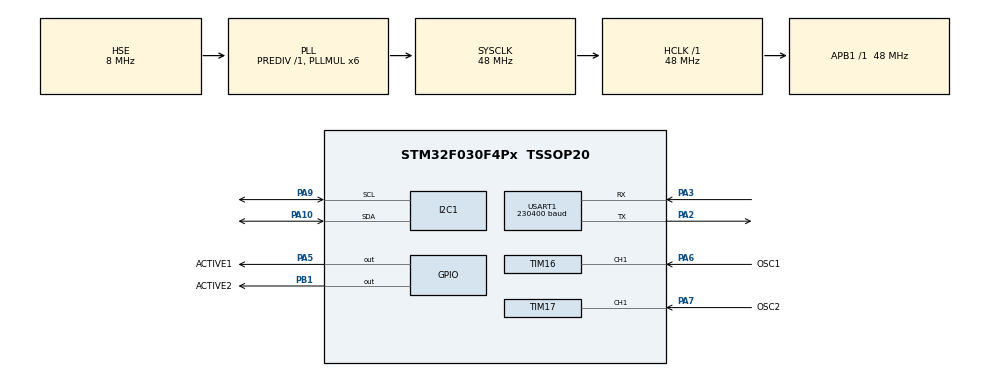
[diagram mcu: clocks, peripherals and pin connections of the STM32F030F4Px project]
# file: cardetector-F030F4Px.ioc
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I2C1.Timing=0x20303E5D
Mcu.Family=STM32F0
Mcu.Name=STM32F030F4Px
Mcu.Package=TSSOP20
Mcu.UserConstants=T14_RELOAD,500
NVIC.I2C1_IRQn=true\:0\:0\:false\:false\:true\:true\:true
NVIC.TIM16_IRQn=true\:0\:0\:false\:false\:true\:true\:true
NVIC.TIM17_IRQn=true\:0\:0\:false\:false\:true\:true\:true
NVIC.USART1_IRQn=true\:0\:0\:false\:false\:true\:true\:true
PA10.GPIO_PuPdOD=GPIO_NOPULL
PA10.Mode=I2C
PA10.Signal=I2C1_SDA
PA13.Mode=Serial_Wire
PA13.Signal=SYS_SWDIO
PA14.Mode=Serial_Wire
PA14.Signal=SYS_SWCLK
PA2.Mode=Asynchronous
PA2.Signal=USART1_TX
PA3.Mode=Asynchronous
PA3.Signal=USART1_RX
PA5.GPIO_Label=ACTIVE1
PA5.Signal=GPIO_Output
PA6.GPIO_Label=OSC1
PA6.Signal=S_TIM16_CH1
PA7.GPIO_Label=OSC2
PA7.Signal=S_TIM17_CH1
PA9.GPIO_PuPdOD=GPIO_NOPULL
PA9.Mode=I2C
PA9.Signal=I2C1_SCL
PB1.GPIO_Label=ACTIVE2
PB1.Signal=GPIO_Output
PF0-OSC_IN.Mode=HSE-External-Oscillator
PF0-OSC_IN.Signal=RCC_OSC_IN
PF1-OSC_OUT.Mode=HSE-External-Oscillator
PF1-OSC_OUT.Signal=RCC_OSC_OUT
ProjectManager.HeapSize=0x200
ProjectManager.StackSize=0x400
ProjectManager.TargetToolchain=SW4STM32
RCC.AHBFreq_Value=48000000
RCC.APB1Freq_Value=48000000
RCC.APB1TimFreq_Value=48000000
RCC.HCLKFreq_Value=48000000
RCC.I2c1ClockSelection=RCC_I2C1CLKSOURCE_SYSCLK
RCC.PLLMUL=RCC_PLL_MUL6
RCC.PLLSourceVirtual=RCC_PLLSOURCE_HSE
RCC.SYSCLKFreq_VALUE=48000000
RCC.SYSCLKSource=RCC_SYSCLKSOURCE_PLLCLK
SH.S_TIM16_CH1.0=TIM16_CH1,Input_Capture1_from_TI1
SH.S_TIM17_CH1.0=TIM17_CH1,Input_Capture1_from_TI1
TIM16.Channel=TIM_CHANNEL_1
TIM16.ICFilter_CH1=1
TIM16.ICPolarity_CH1=TIM_INPUTCHANNELPOLARITY_RISING
TIM16.ICPrescaler=TIM_ICPSC_DIV8
TIM16.Period=65535
TIM17.Channel=TIM_CHANNEL_1
TIM17.ICFilter_CH1=1
TIM17.ICPolarity_CH1=TIM_INPUTCHANNELPOLARITY_RISING
TIM17.ICPrescaler=TIM_ICPSC_DIV8
TIM17.Period=65535
USART1.BaudRate=230400
USART1.VirtualMode-Asynchronous=VM_ASYNC
VP_IWDG_VS_IWDG.Mode=IWDG_Activate
VP_TIM16_VS_ClockSourceINT.Mode=Enable_Timer
VP_TIM17_VS_ClockSourceINT.Mode=Enable_Timer
board=cardetector-F030F4Px

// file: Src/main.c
/* USER CODE BEGIN Header */
/**
  ******************************************************************************
  * @file           : main.c
  * @brief          : Main program body
  ******************************************************************************
  * @attention
  *
  * <h2><center>&copy; Copyright (c) 2019 STMicroelectronics.
  * All rights reserved.</center></h2>
  *
  * This software component is licensed by ST under BSD 3-Clause license,
  * the "License"; You may not use this file except in compliance with the
  * License. You may obtain a copy of the License at:
  *                        opensource.org/licenses/BSD-3-Clause
  *
  ******************************************************************************
  */
/* USER CODE END Header */

#include "main.h"
#include "i2c.h"
#include "iwdg.h"
#include "tim.h"
#include "usart.h"
#include "gpio.h"

/* USER CODE BEGIN Includes */
#include <config.h>
#include <globals.h>
#include <cardetector_common/detector.h>
#include <cardetector_common/display.h>
#include <stm32plus/usart.h>
#include <stm32plus/strutil.h>

#include <cardetector_common/liveconfig.h>
#include <cardetector_common/userinput.h>

/* USER CODE END Includes */

/* USER CODE BEGIN PV */
/* Private variables ---------------------------------------------------------*/

const char g_stateSyms[] = "-|+#*";

const LIVECONFIG g_config_default =
{
	  0xA5
	, {SHIFT_BELOW, SHIFT_BASE, SHIFT_ABOVE, SHIFT_ACTIVE, SHIFT_TIMEOUT}	//below, above, active, timeout
	, SHIFT_SUM		//shift
	, TIMELIMIT		//tlimit
	, DIVIDER		//divider
	, MCCOUNT		//mccntexp
	, 0
#if defined(USE_LEDBAR)
	, {
		{ 1, 2, 6, 0xe, 0x1e, 0x3e, 0x7e, 0xfe },
		{ 1, 2, 6, 0xe, 0x1e, 0x3e, 0x7e, 0xfe }
	  }
#endif
};

LIVECONFIG 	g_config;

// globals.h start /////////////////////////////////////////////////////////////
#ifdef USE_I2C
I2cMaster_State		*g_i2c;
#endif

#ifdef USE_EEPROM
I2cEEPROM_State		g_eeprom;
#endif

#ifdef USE_SERIAL
uint8_t				g_lineBuffer[64];
volatile uint8_t	g_lineReceived = 0;
#endif

/* USER CODE END PV */

void SystemClock_Config(void);
/* USER CODE BEGIN PFP */
/* Private function prototypes -----------------------------------------------*/
void DisplayResults(uint8_t line);

/* USER CODE END PFP */

/* USER CODE BEGIN 0 */
#ifdef GENERATE_SWEEP
#define PWM_DELAY	2
#define PWM_STEP	1

//////////////////////////////////////////////////////////////////////////////
void HAL_SYSTICK_Callback(void)
{
	static uint16_t	counter = PWM_DELAY;
	static uint8_t	up = 1;
	static uint16_t	pwm = 0;

	//return;

	if(! --counter)
	{
		counter = PWM_DELAY;

		if(up) {
			if(pwm < htim14.Init.Period) {
				pwm += PWM_STEP;
			} else {
				pwm = htim14.Init.Period;
				up = 0;
			}
		} else {
			if(pwm > PWM_STEP) {
				pwm -= PWM_STEP;
			} else {
				pwm = 0;
				up = 1;
			}
		}
		__HAL_TIM_SetCompare(&htim14, TIM_CHANNEL_1, pwm);
	}
}
#endif	//	GENERATE_SWEEP

/* USER CODE END 0 */

int main(void)
{

  /* MCU Configuration--------------------------------------------------------*/

  /* Reset of all peripherals, Initializes the Flash interface and the Systick. */
  HAL_Init();

  /* Configure the system clock */
  SystemClock_Config();

  /* Initialize all configured peripherals */
  MX_GPIO_Init();
  MX_I2C1_Init();
  MX_TIM16_Init();
  MX_TIM17_Init();
  MX_USART1_UART_Init();
  /* USER CODE BEGIN 2 */
  g_config = g_config_default;

#ifdef USE_I2C
  g_i2c = I2cMaster_Init(&hi2c1);
  InitializeDisplay(g_i2c);
#endif

  MX_IWDG_Init();
  HAL_IWDG_Refresh(&hiwdg);

#ifdef USE_EEPROM
  I2cEEPROM_Init(&g_eeprom, g_i2c, EEPROMADDR, 1, 8);
  {
	LIVECONFIG	config;

	if(I2cEEPROM_Read(&g_eeprom, EESTART, &config, sizeof(config)) == HAL_OK) {
		I2cMaster_WaitCallback(g_i2c);
		if(config.magic == 0xA5)
			g_config = config;
	}
  }
#endif

#ifdef USE_SERIAL
  UsartInit(&huart1);
#endif	//	USE_SERIAL

#ifdef GENERATE_SWEEP
  HAL_TIM_Base_Start_IT(&htim14);
  HAL_TIM_PWM_Start(&htim14, TIM_CHANNEL_1);
  __HAL_TIM_SetCompare(&htim14, TIM_CHANNEL_1, 256);
#endif	//	GENERATE_SWEEP

  HAL_TIM_IC_Start_IT(&htim16, TIM_CHANNEL_1);
  HAL_TIM_IC_Start_IT(&htim17, TIM_CHANNEL_1);

#ifdef USE_SERIAL
  HAL_UART_Receive_IT(&huart1, g_lineBuffer, sizeof(g_lineBuffer));
#endif
  /* USER CODE END 2 */

  /* Infinite loop */
  while (1)
  {

    /* USER CODE BEGIN 3 */
#ifdef USE_SERIAL
	if(g_lineReceived)
	{
	  UsartSendStr((char*)g_lineBuffer, 1);
	  UsartSendStr("\r\n", 1);

	  ProcessInput(&g_config, (char*)g_lineBuffer);
	  //DisplayInput(&i2clcd);
	  g_lineReceived = 0;
	  HAL_UART_Receive_IT(&huart1, g_lineBuffer, sizeof(g_lineBuffer));
	}
#endif
	  if(g_statuses[0].trigger) {
		  DisplayResults(0);
		  g_statuses[0].trigger = 0;
	  }
	  if(g_statuses[1].trigger) {
		  DisplayResults(1);
		  g_statuses[1].trigger = 0;
	  }

	  HAL_IWDG_Refresh(&hiwdg);
  }
  /* USER CODE END 3 */
}

void SystemClock_Config(void)
{
  RCC_OscInitTypeDef RCC_OscInitStruct = {0};
  RCC_ClkInitTypeDef RCC_ClkInitStruct = {0};
  RCC_PeriphCLKInitTypeDef PeriphClkInit = {0};

  /** Initializes the CPU, AHB and APB busses clocks
  */
  RCC_OscInitStruct.OscillatorType = RCC_OSCILLATORTYPE_LSI|RCC_OSCILLATORTYPE_HSE;
  RCC_OscInitStruct.HSEState = RCC_HSE_ON;
  RCC_OscInitStruct.LSIState = RCC_LSI_ON;
  RCC_OscInitStruct.PLL.PLLState = RCC_PLL_ON;
  RCC_OscInitStruct.PLL.PLLSource = RCC_PLLSOURCE_HSE;
  RCC_OscInitStruct.PLL.PLLMUL = RCC_PLL_MUL6;
  RCC_OscInitStruct.PLL.PREDIV = RCC_PREDIV_DIV1;
  if (HAL_RCC_OscConfig(&RCC_OscInitStruct) != HAL_OK)
  {
    Error_Handler();
  }
  /** Initializes the CPU, AHB and APB busses clocks
  */
  RCC_ClkInitStruct.ClockType = RCC_CLOCKTYPE_HCLK|RCC_CLOCKTYPE_SYSCLK
                              |RCC_CLOCKTYPE_PCLK1;
  RCC_ClkInitStruct.SYSCLKSource = RCC_SYSCLKSOURCE_PLLCLK;
  RCC_ClkInitStruct.AHBCLKDivider = RCC_SYSCLK_DIV1;
  RCC_ClkInitStruct.APB1CLKDivider = RCC_HCLK_DIV1;

  if (HAL_RCC_ClockConfig(&RCC_ClkInitStruct, FLASH_LATENCY_1) != HAL_OK)
  {
    Error_Handler();
  }
  PeriphClkInit.PeriphClockSelection = RCC_PERIPHCLK_USART1|RCC_PERIPHCLK_I2C1;
  PeriphClkInit.Usart1ClockSelection = RCC_USART1CLKSOURCE_PCLK1;
  PeriphClkInit.I2c1ClockSelection = RCC_I2C1CLKSOURCE_SYSCLK;
  if (HAL_RCCEx_PeriphCLKConfig(&PeriphClkInit) != HAL_OK)
  {
    Error_Handler();
  }
}

/* USER CODE BEGIN 4 */
////////////////////////////////////////////////////////////////////
#ifdef USE_SERIAL
void HAL_UART_RxCpltCallback(UART_HandleTypeDef *huart)
{
	if(huart == &huart1)
	{
		g_lineBuffer[sizeof(g_lineBuffer) - 1 - huart->RxXferCount] = 0;
		g_lineReceived = 1;
	}
}
#endif
////////////////////////////////////////////////////////////////////
void DisplayResults(uint8_t line)
{
	//TODO: optimize
#if defined(DEBUG_SERIAL) || defined(USE_LCD)
	uint8_t			irqEnabled = __get_PRIMASK() == 0;
	__disable_irq();
	DETECTORSTATUS	st = g_statuses[line];
	if(irqEnabled) __enable_irq();
#endif

#if defined(DEBUG_SERIAL)
	if(g_config.debug & (line+1))
	{
		// 1: | 20CDC000, 8336, 8337,         1,    10,        41,       1
		//ch st sum,      avg,  lastMeasured, diff, tolerance, threshold correction
		UsartPrintUint(line, 0, 1);
		UsartSend(": ", 2, 1);
		UsartSend(&g_stateSyms[st.state], 1, 1);
		UsartSend(" ", 1, 1);
		UsartPrintUint(st.sum, -1, 1);
		UsartSend(", ", 2, 1);
		UsartPrintUint(st.avg, -1, 1);
		UsartSend(", ", 2, 1);
		UsartPrintUint(st.lastMeasured, -1, 1);
		UsartSend(", ", 2, 1);
		UsartPrintInt(st.diff, 0, 1);
		UsartSend(", ", 2, 1);
		UsartPrintUint(st.tolerance, 0, 1);
		UsartSend(", ", 2, 1);
		UsartPrintUint(st.threshold, 0, 1);
		UsartSend(", ", 2, 1);
		UsartPrintInt(st.correction, 0, 1);
		UsartSend("\r\n", 2, 1);
	}
#endif	//	DEBUG_SERIAL

#if defined(USE_LCD)
#if defined(DEBUG_LCD)
	I2cLcd_SetCursor(&g_lcd, 0, line);
	I2cLcd_PrintChar(&g_lcd, g_stateSyms[st.state]);
	I2cLcd_PrintChar(&g_lcd, ' ');
	I2cLcd_PrintInt(&g_lcd, st.diff, 0);
	I2cLcd_PrintStr(&g_lcd, "   ");
#else
	if(g_config.debug & 4) {
		uint32_t freq = ((uint32_t)((uint64_t)48000000*64 / st.lastMeasured));
		I2cLcd_SetCursor(&g_lcd, 0, line);
		I2cLcd_PrintUint(&g_lcd, freq, 0);
	}
#endif	//	DEBUG_LCD

#endif	//	USE_LCD

#if defined(USE_LCD) || defined(USE_LEDBAR)
	UpdateBar(line, CalcBar(&st));
#endif
}

/* USER CODE END 4 */

void Error_Handler(void)
{
  while(1)
  {
  }
}

/************************ (C) COPYRIGHT STMicroelectronics *****END OF FILE****/
